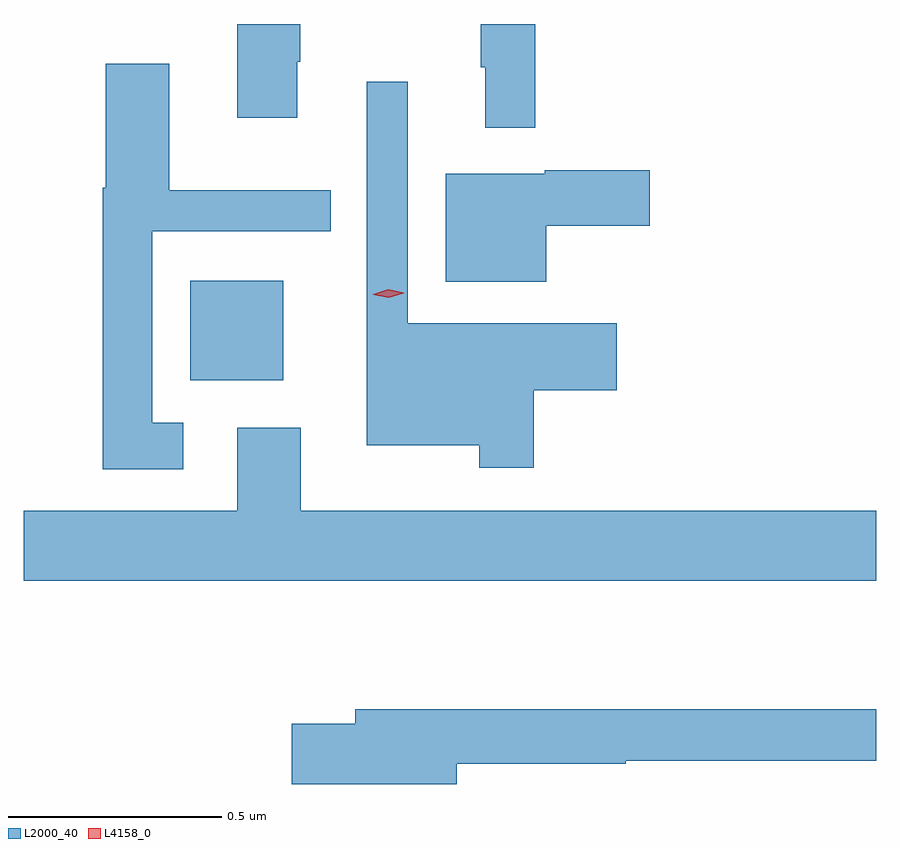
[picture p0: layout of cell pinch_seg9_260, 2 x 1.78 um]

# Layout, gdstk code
import gdstk
lib = gdstk.Library(unit=1e-6, precision=1e-09)
def R(c, l, rs):  # rectangles x0, y0, x1, y1
    for r in rs: c.add(gdstk.rectangle(r[:2], r[2:], *l))
def P(c, l, *ps):  # polygons
    for p in ps: c.add(gdstk.Polygon(p, *l))
L2000_40 = (2000, 40)
L4158_0 = (4158, 0)

pinch_seg9_260 = lib.new_cell('pinch_seg9_260')
R(pinch_seg9_260, L2000_40, [(491.438,1231.523,491.656,1231.756)])
P(pinch_seg9_260, L2000_40, [(491.689,1232.27),(491.697,1232.27),(491.697,1232.359),(491.549,1232.359),(491.549,1232.139),(491.689,1232.139)],
  [(492.248,1232.359),(492.12,1232.359),(492.12,1232.258),(492.131,1232.258),(492.131,1232.115),(492.248,1232.115)],
  [(491.422,1231.423),(491.349,1231.423),(491.349,1231.872),(491.768,1231.872),(491.768,1231.969),(491.389,1231.969),(491.389,1232.266),(491.24,1232.266),(491.24,1231.975),(491.233,1231.975),(491.233,1231.314),(491.422,1231.314)],
  [(492.245,1231.499),(492.439,1231.499),(492.439,1231.657),(491.949,1231.657),(491.949,1232.224),(491.853,1232.224),(491.853,1231.747),(491.852,1231.747),(491.852,1231.37),(492.117,1231.37),(492.117,1231.317),(492.245,1231.317)],
  [(492.274,1231.886),(492.517,1231.886),(492.517,1232.016),(492.27,1232.016),(492.27,1232.008),(492.038,1232.008),(492.038,1231.754),(492.274,1231.754)],
  [(493.048,1231.216),(491.698,1231.216),(491.698,1231.411),(491.549,1231.411),(491.549,1231.216),(491.048,1231.216),(491.048,1231.052),(493.048,1231.052)],
  [(492.064,1230.622),(492.46,1230.622),(492.46,1230.63),(493.048,1230.63),(493.048,1230.751),(491.825,1230.751),(491.825,1230.717),(491.676,1230.717),(491.676,1230.575),(492.064,1230.575)])
P(pinch_seg9_260, L4158_0, [(491.904,1231.716),(491.868,1231.724),(491.868,1231.725),(491.868,1231.725),(491.903,1231.736),(491.939,1231.728),(491.939,1231.727),(491.939,1231.727)])

lib.write_gds('pinch_seg9_260.gds')
